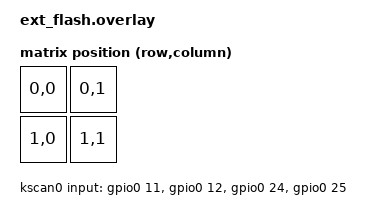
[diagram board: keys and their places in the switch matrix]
#include "ext_flash-layouts.dtsi"
#include <dt-bindings/zmk/matrix_transform.h>

/ {
    chosen {
        zmk,kscan = &kscan0;
		// zmk,matrix-transform = &matrix_transform0;
		zmk,physcial-layout = <&physical_layout0>;
		// zephyr,settings-partition = &storage;
    };
	
    kscan0: kscan0 {
        compatible = "zmk,kscan-gpio-direct";
        wakeup-source;

        input-gpios
            = <&gpio0 11 (GPIO_ACTIVE_LOW | GPIO_PULL_UP)>
            , <&gpio0 12 (GPIO_ACTIVE_LOW | GPIO_PULL_UP)>
            , <&gpio0 24 (GPIO_ACTIVE_LOW | GPIO_PULL_UP)>
            , <&gpio0 25 (GPIO_ACTIVE_LOW | GPIO_PULL_UP)>
            ;
    };

	matrix_transform0: matrix_transform_0 {
		compatible = "zmk,matrix-transform";
		rows = <2>;
		columns = <2>;
		map = <
			RC(0,0) RC(0,1)
			RC(1,0) RC(1,1)
		>;
	};
};

&physical_layout0 {
	kscan = <&kscan0>;
	transform = <&matrix_transform0>;
};

&spi3 {
    status = "okay";
    cs-gpios = <&gpio1 12 GPIO_ACTIVE_LOW>;  /* CS pin */

    w25q128: w25q128@0 {
        status = "okay";
        compatible = "jedec,spi-nor";
        reg = <0>;  /* CS line 0 */
        spi-max-frequency = <8000000>;
        size = <0x1000000>;
        // label = "W25Q128";
        jedec-id = [ef 40 18];  /* Manufacturer and device ID for W25Q128JV */

        // has-dpd;
        // t-enter-dpd = <20000>;
        // t-exit-dpd = <100000>;
        partitions {
            compatible = "fixed-partitions";
            #address-cells = <1>;
            #size-cells = <1>;

            storage_partition: partition@0 {
                label = "storage_partition";
                reg = <0x0 DT_SIZE_K(128)>;
            };
        };
    };
};

// &mx25r64 {
//     partitions {
//         compatible = "fixed-partitions";
//         #address-cells = <1>;
//         #size-cells = <1>;

//         storage_partition: partition@0 {
//             label = "settings";
//             reg = <0x0 DT_SIZE_K(128)>;
//         };
//     };
// };

&flash0 {
    /*
     * For more information, see:
     * http://docs.zephyrproject.org/latest/devices/dts/flash_partitions.html
     */
	 partitions {
		// compatible = "fixed-partitions";
		// #address-cells = < 0x1 >;
		// #size-cells = < 0x1 >;
		// boot_partition: partition@0 {
		// 	label = "mcuboot";
		// 	reg = < 0x0 0xc000 >;
		// };
		// slot0_partition: partition@c000 {
		// 	label = "image-0";
		// 	reg = < 0xc000 0x76000 >;
		// };
		// slot1_partition: partition@82000 {
		// 	label = "image-1";
		// 	reg = < 0x82000 0x76000 >;
		// };
		/delete-node/ partition@f8000;
	};
};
